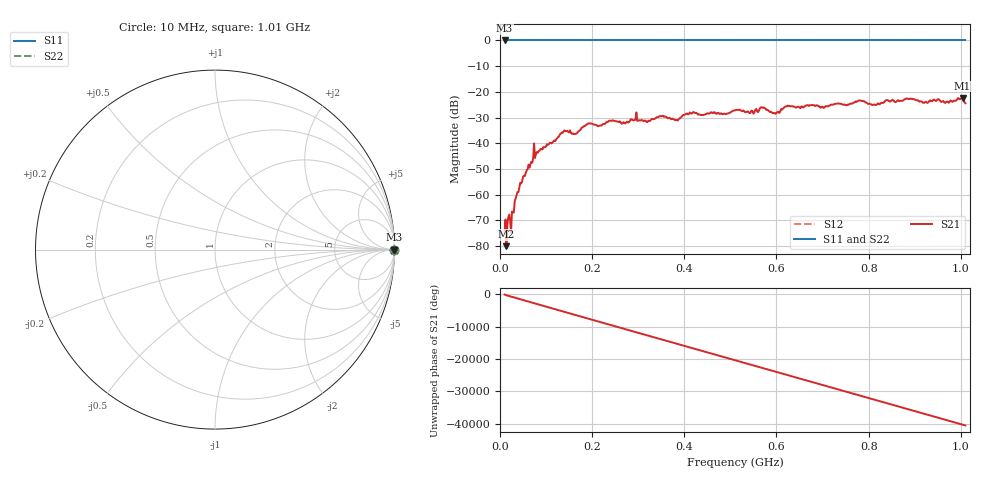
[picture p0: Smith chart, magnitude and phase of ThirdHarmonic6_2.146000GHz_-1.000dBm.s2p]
! 8/17/2025 1:37:57 AM
! C:\ANRITSUVNA\TEMP\TEMP.S2P
! CHANNEL.1
! TR.MEASUREMENT
! RAW.DATA
! RF.CORRECTION.OFF
! AVERAGING.OFF
! IF.BANDWIDTH: 5KHZ
! SWEEPTYPE:  FREQ.SWEEP(Linear)
! Reference Plane Port Info
! PORT:  PORT1  PORT2
! DISTANCE:  0  m  0  m
! TIME:  0  s  0  s
! PHASE.OFFSET:  0  deg.  0  deg.
! LOSS:  0  dB  0  dB
! REF.LOSS:  0  dB  0  dB
! REF.FREQ:  0  Hz  0  Hz
! Power Info
! POWER:  -20  dBm  -20  dBm
! EFF.POWER:  -20  dBm  -20  dBm
! SOURCE.ATTEN:  0  dB  0  dB
! TEST.ATTEN:  0  dB  0  dB
# GHZ S RI R 50.0
! FREQ.GHZ  S11RE  S11IM  S21RE  S21IM  S12RE  S12IM  S22RE  S22IM
!; PortSelection: Port_12
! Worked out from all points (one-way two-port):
!   501 points, 10 MHz to 1.01 GHz, reference 50 ohm
!   highest |S21| = -22.33 dB at 1.004 GHz (marker M1); lowest = -80.0 dB at 14 MHz (marker M2)
!   lowest |S11| = 0.0 dB at 10 MHz (marker M3)
!   |S11| at or under -10 dB: nowhere
!   |S22| runs from 0.0 to 0.0 dB; largest |S21 - S12| = 1.1
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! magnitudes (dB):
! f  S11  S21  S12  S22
! 10 MHz  0.0  -74.9  0.0  0.0
! 14 MHz  0.0  -80.0  0.0  0.0
! 26 MHz  0.0  -66.5  0.0  0.0
! 36 MHz  0.0  -60.1  0.0  0.0
! 46 MHz  0.0  -55.6  0.0  0.0
! 76 MHz  0.0  -45.7  0.0  0.0
! 136 MHz  0.0  -35.9  0.0  0.0
! 164 MHz  0.0  -36.3  0.0  0.0
! 178 MHz  0.0  -33.8  0.0  0.0
! 194 MHz  0.0  -32.2  0.0  0.0
! 344 MHz  0.0  -29.7  0.0  0.0
! 382 MHz  0.0  -30.9  0.0  0.0
! 416 MHz  0.0  -28.4  0.0  0.0
! 510 MHz  0.0  -27.2  0.0  0.0
! 546 MHz  0.0  -27.3  0.0  0.0
! 570 MHz  0.0  -26.2  0.0  0.0
! 596 MHz  0.0  -28.3  0.0  0.0
! 622 MHz  0.0  -25.7  0.0  0.0
! 678 MHz  0.0  -25.2  0.0  0.0
! 844 MHz  0.0  -23.5  0.0  0.0
! 1.004 GHz  0.0  -22.3  0.0  0.0
! 1.01 GHz  0.0  -24.4  0.0  0.0
